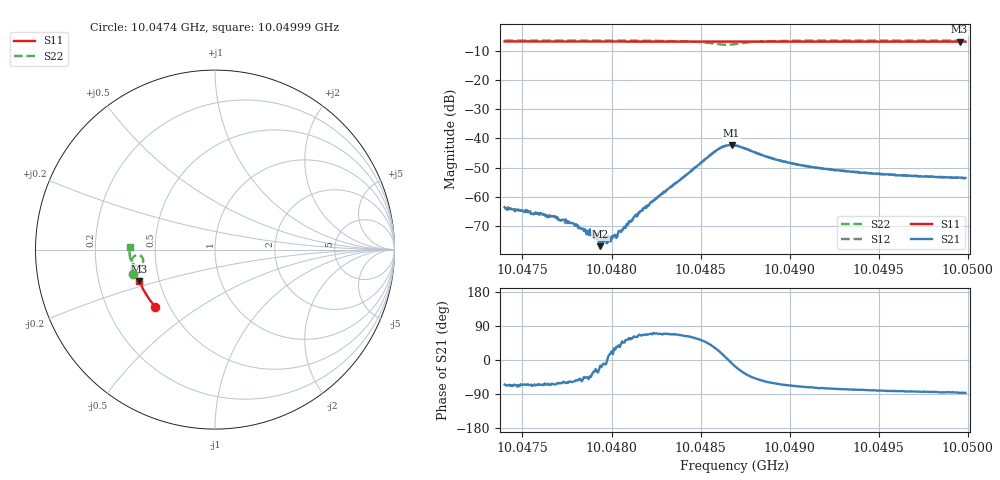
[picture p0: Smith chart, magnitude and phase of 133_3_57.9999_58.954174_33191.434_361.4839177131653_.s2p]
#  HZ  S  RI  R  50.00
! Rohde & Schwarz Vector Network Analyzer
! Rohde-Schwarz,ZNB20-2Port,1311601062101988,3.16
! Created: UTC 3/21/2024, 12:56:13 AM
! freq[Hz]  re:S11  im:S11  re:S21  im:S21  re:S12  im:S12  re:S22  im:S22
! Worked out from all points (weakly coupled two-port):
!   401 points, 10.0474 GHz to 10.04999 GHz, reference 50 ohm
!   highest |S21| = -42.25 dB at 10.04867 GHz (marker M1); lowest = -76.9 dB at 10.04794 GHz (marker M2)
!   lowest |S11| = -6.8 dB at 10.04996 GHz (marker M3), VSWR 2.67, Z = 19.3 - j8.54 ohm
!   |S11| at or under -10 dB: nowhere
!   |S22| runs from -7.9 to -6.4 dB; largest |S21 - S12| = 0.00053
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1.00474e10  -0.3328 -0.3178  0.000284 -0.000598  0.00029 -0.000569  -0.4584 -0.1376
1.004751e10  -0.3376 -0.3122  0.000237 -0.000496  0.000271 -0.000514  -0.4603 -0.1299
1.0047684e10  -0.3451 -0.3035  0.00019 -0.000398  0.000232 -0.000393  -0.463 -0.1173
1.0047794e10  -0.3498 -0.2977  0.000179 -0.000264  0.000186 -0.000279  -0.4644 -0.1092
1.0047833e10  -0.3514 -0.2957  0.000156 -0.000234  0.000206 -0.000192  -0.4649 -0.1062
1.0047911e10  -0.3545 -0.2916  0.000215 -9.47e-05  0.000172 -0.000114  -0.4658 -0.1
1.0047937e10  -0.3557 -0.2903  0.000138 -3.71e-05  0.000181 -4.61e-05  -0.466 -0.098
1.0047943e10  -0.3559 -0.2898  0.000182 -6.05e-05  0.000171 -3.84e-05  -0.4662 -0.0973
1.0047956e10  -0.3564 -0.2893  0.000177 -2.94e-05  0.000167 -2.64e-05  -0.4661 -0.0964
1.0047982e10  -0.3574 -0.2879  0.000213 3.48e-05  0.000174 1.7e-05  -0.4664 -0.0942
1.0048034e10  -0.3594 -0.2851  0.000183 0.000128  0.000169 0.000124  -0.4667 -0.0899
1.0048092e10  -0.3618 -0.282  0.000198 0.00027  0.000174 0.000286  -0.4672 -0.0847
1.0048267e10  -0.3686 -0.2725  0.000384 0.000971  0.0003 0.00099  -0.4661 -0.067
1.0048584e10  -0.3797 -0.2548  0.00521 0.00313  0.00505 0.00346  -0.4187 -0.0328
1.0048629e10  -0.381 -0.2523  0.00712 0.0016  0.00702 0.002  -0.4026 -0.0477
1.0048674e10  -0.3823 -0.2502  0.00764 -0.00113  0.00773 -0.000628  -0.4018 -0.0716
1.0048694e10  -0.3831 -0.249  0.00728 -0.00218  0.00745 -0.00172  -0.4069 -0.08
1.0048914e10  -0.3911 -0.237  0.00211 -0.00389  0.00235 -0.00381  -0.4609 -0.0751
1.0049127e10  -0.3979 -0.2245  0.000987 -0.0031  0.00117 -0.00305  -0.4715 -0.0513
1.004956e10  -0.4107 -0.1988  0.00035 -0.00237  0.000485 -0.00235  -0.4762 -0.0153
1.0049955e10  -0.4207 -0.1749  0.000136 -0.00213  0.00027 -0.00212  -0.4764 0.0135
1.0049987e10  -0.4216 -0.1727  0.000124 -0.00211  0.000266 -0.00211  -0.4763 0.0158
